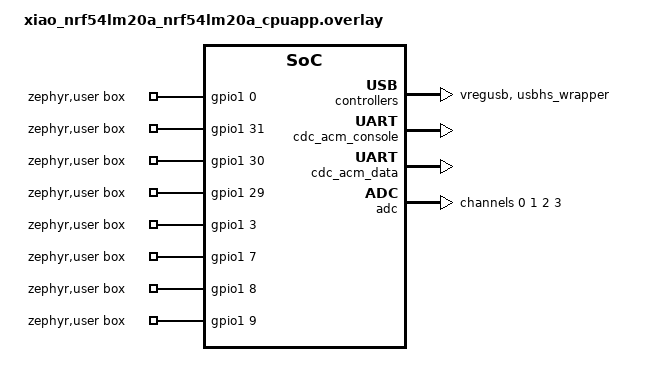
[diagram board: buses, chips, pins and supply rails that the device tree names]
/*
 * extio-zephyr on a Seeed XIAO nRF54LM20A -- SCOUT PORT (build-only, 2026-08-22).
 *
 * Box pin n IS XIAO Dn. The board ships a `seeed,xiao-gpio` connector map
 * (seeed_xiao_connector.dtsi) that plays exactly the role the Arduino header
 * plays on the MCXN947 and the nRF52840 DK, so the identity convention carries
 * to a third vendor's header without argument. D0-D27 = box pins 0-27; the pad
 * assignments below are copied from that map, not from the silkscreen.
 *
 * NOTE the connector declares 28 positions. Which of them are actually brought
 * to pads on the physical module -- edge castellations vs. bottom pads -- is a
 * MODULE question this file does not answer. Check the XIAO pinout card before
 * wiring; box_gpio.c will happily drive a pin the module does not expose.
 */

#include <zephyr/dt-bindings/gpio/gpio.h>
#include <zephyr/dt-bindings/adc/adc.h>
#include <zephyr/dt-bindings/adc/nrf-saadc.h>

/ {
	zephyr,user {
		box-gpios = <&gpio1  0 0>,   /*  0 = D0  */
			    <&gpio1 31 0>,   /*  1 = D1  */
			    <&gpio1 30 0>,   /*  2 = D2  */
			    <&gpio1 29 0>,   /*  3 = D3  */
			    <&gpio1  3 0>,   /*  4 = D4  */
			    <&gpio1  7 0>,   /*  5 = D5  */
			    <&gpio1  8 0>,   /*  6 = D6  */
			    <&gpio1  9 0>,   /*  7 = D7  */
			    <&gpio1  4 0>,   /*  8 = D8  */
			    <&gpio1  5 0>,   /*  9 = D9  */
			    <&gpio1  6 0>,   /* 10 = D10 */
			    <&gpio3  0 0>,   /* 11 = D11 */
			    <&gpio3  1 0>,   /* 12 = D12 */
			    <&gpio3  2 0>,   /* 13 = D13 */
			    <&gpio3  3 0>,   /* 14 = D14 */
			    <&gpio3  4 0>,   /* 15 = D15 */
			    <&gpio3  5 0>,   /* 16 = D16 */
			    <&gpio3  6 0>,   /* 17 = D17 */
			    <&gpio3  7 0>,   /* 18 = D18 */
			    <&gpio0  0 0>,   /* 19 = D19 */
			    <&gpio0  1 0>,   /* 20 = D20 */
			    <&gpio0  2 0>,   /* 21 = D21 */
			    <&gpio0  3 0>,   /* 22 = D22 */
			    <&gpio0  4 0>,   /* 23 = D23 */
			    <&gpio0  5 0>,   /* 24 = D24 */
			    <&gpio3  9 0>,   /* 25 = D25 */
			    <&gpio3 10 0>,   /* 26 = D26 */
			    <&gpio3 11 0>,   /* 27 = D27 */
			    /* The module's own LED and button, which are NOT on
			     * the D connector -- so they cost no field pin, and
			     * they give LED_PIN/BTN_PIN somewhere real to land.
			     * Without them main.c's #else chain would put the
			     * boot heartbeat on box pin 3 = D3, a signal pin
			     * (see the note in main.c). Blue LED is ACTIVE_HIGH
			     * on this module -- unlike every other board here,
			     * where the on-board LEDs are active low. */
			    <&gpio1 22 0>,                 /* 28 = LED (blue) */
			    <&gpio0  9 GPIO_ACTIVE_LOW>;   /* 29 = BTN        */

		box-pin-silk = "D0","D1","D2","D3","D4","D5","D6","D7","D8","D9",
			       "D10","D11","D12","D13","D14","D15","D16","D17",
			       "D18","D19","D20","D21","D22","D23","D24","D25",
			       "D26","D27","LED","BTN";

		/* NO box-ain-pins, DELIBERATELY. On the nRF52840 DK every SAADC
		 * input is also a box pin, so the shared-pin path is declared and
		 * exercised. Here the AIN -> pad mapping for this part has NOT been
		 * read out of the datasheet, and a WRONG shared-pin claim is worse
		 * than an absent one: box_adc.c's absent-pinmap path treats every
		 * channel as a dedicated always-active input, which is a safe
		 * default, whereas a wrong entry would gate a channel on the mode
		 * of an unrelated pin. Fill this in from the datasheet at bring-up,
		 * together with box-ain-silk. */
	};
};

/* A SECOND UPSTREAM GAP: the board's own connector map routes D11-D18 and
 * D25-D27 to `gpio3`, and the board leaves gpio3 DISABLED. Nothing complains at
 * devicetree time -- the gpio-map is just data -- and the failure lands much
 * later as a link-time
 *
 *     error: '__device_dts_ord_14' undeclared here (not in a function)
 *
 * from box_gpio.c, naming an ordinal rather than a port. gpio0/1/2 are okay;
 * only gpio3 is not. Same class as the wrapper gap above: a board file that
 * advertises pins it has not switched on. */
&gpio3 { status = "okay"; };

/* On-board peripherals that would fight the connector if the box claimed those
 * pins. Left ALONE for now rather than disabled wholesale as on the nRF52840
 * DK: this module carries a real IMU on i2c30 and a QSPI-ish flash on spi00,
 * both of which a XIAO-based box might genuinely want, and neither has been
 * checked against the D0-D27 map yet. THIS IS AN OPEN ITEM, not a decision --
 * the spi1/i2c0/pwm0 collision on the DK is the precedent for what happens when
 * two drivers own one pad. Check before wiring. */

/* ---- AN UPSTREAM GAP IN THE XIAO BOARD FILES, not something this app wants ----
 *
 * The USB device on nRF54L is THREE nodes, not one: a VBUS regulator
 * (`vregusb`), a wrapper (`usbhs_wrapper`, which carries `regulator =
 * <&vregusb>`), and the controller itself (`usbhs`). Nordic's own nRF54LM20 DK
 * enables all three. The Seeed XIAO board files enable ONLY `usbhs` -- so
 * NRF_USBHS_WRAPPER's dependency `DT_HAS_NORDIC_NRF_USBHS_WRAPPER_ENABLED` is
 * false while UDC_DWC2 y-selects it, and the build dies at Kconfig:
 *
 *   warning: NRF_USBHS_WRAPPER ... has direct dependencies
 *            DT_HAS_NORDIC_NRF_USBHS_WRAPPER_ENABLED && REGULATOR with value n,
 *            but is currently being y-selected by UDC_DWC2
 *
 * i.e. USB does not come up on this board as shipped by Zephyr, for any
 * application, until someone enables these two. Fixed here so the scout builds;
 * it belongs upstream in boards/seeed/xiao_nrf54lm20a/ instead, and should be
 * sent there rather than carried in patches/ -- it is a missing board fact, not
 * a driver defect.
 */
&vregusb       { status = "okay"; };
&usbhs_wrapper { status = "okay"; };

/* console FIRST, data SECOND -- interface numbering; box_net_usb.c asserts it.
 * zephyr_udc0 here is `usbhs` (nordic,nrf-usbhs-nrf54l / snps,dwc2), driven by
 * udc_dwc2 -- HIGH-SPEED, unlike the nRF52840's Full-Speed controller. */
&zephyr_udc0 {
	cdc_acm_console: cdc_acm_uart0 {
		compatible = "zephyr,cdc-acm-uart";
	};
	cdc_acm_data: cdc_acm_uart1 {
		compatible = "zephyr,cdc-acm-uart";
		rx-fifo-size = <8192>;
		tx-fifo-size = <8192>;
	};
};

/*
 * ---- ANALOG: the nRF54L SAADC ----
 *
 * Same compatible as the nRF52840 (`nordic,nrf-saadc`) and the same dt-bindings
 * header, so `reg` is a logical index, `zephyr,input-positive` picks the pad,
 * and the audited oversample menu in box_adc.c (1x only -- the driver refuses
 * every non-zero value for a multi-channel sequence) applies unchanged.
 *
 * FOUR channels, and the number is a placeholder: which AIN lands on which XIAO
 * pad has not been read out of the datasheet. The board's own DTS declares a
 * single channel@0 on AIN0 with ADC_REF_INTERNAL; this overrides it and adds
 * three more so the sweep path has something to compile against. Reference and
 * gain are the board's own choice, kept rather than second-guessed -- the
 * full-scale voltage this yields on nRF54L silicon is a bring-up measurement,
 * NOT the 3300 mV the other boards declare. Do not copy a calibration here.
 */
box_adc: &adc {
	status = "okay";
	#address-cells = <1>;
	#size-cells = <0>;

	channel@0 { reg = <0>; zephyr,gain = "ADC_GAIN_1_4";
		zephyr,reference = "ADC_REF_INTERNAL";
		zephyr,acquisition-time = <ADC_ACQ_TIME_DEFAULT>;
		zephyr,resolution = <12>; zephyr,input-positive = <NRF_SAADC_AIN0>; };
	channel@1 { reg = <1>; zephyr,gain = "ADC_GAIN_1_4";
		zephyr,reference = "ADC_REF_INTERNAL";
		zephyr,acquisition-time = <ADC_ACQ_TIME_DEFAULT>;
		zephyr,resolution = <12>; zephyr,input-positive = <NRF_SAADC_AIN1>; };
	channel@2 { reg = <2>; zephyr,gain = "ADC_GAIN_1_4";
		zephyr,reference = "ADC_REF_INTERNAL";
		zephyr,acquisition-time = <ADC_ACQ_TIME_DEFAULT>;
		zephyr,resolution = <12>; zephyr,input-positive = <NRF_SAADC_AIN2>; };
	channel@3 { reg = <3>; zephyr,gain = "ADC_GAIN_1_4";
		zephyr,reference = "ADC_REF_INTERNAL";
		zephyr,acquisition-time = <ADC_ACQ_TIME_DEFAULT>;
		zephyr,resolution = <12>; zephyr,input-positive = <NRF_SAADC_AIN3>; };
};
